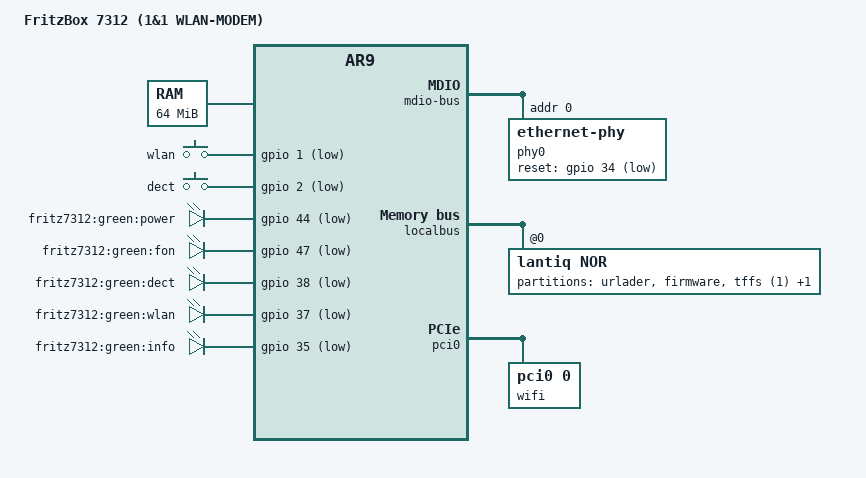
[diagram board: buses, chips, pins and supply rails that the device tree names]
/dts-v1/;

#include "ar9.dtsi"

#include <dt-bindings/input/input.h>

/ {
	compatible = "avm,fritz7312", "lantiq,xway", "lantiq,ar9";
	model = "FritzBox 7312 (1&1 WLAN-MODEM)";

	chosen {
		bootargs = "console=ttyLTQ0,115200";
	};

	aliases {
		led-boot = &power;
		led-failsafe = &power;
		led-running = &power;
		led-upgrade = &power;

		led-internet = &info_green;
		led-dsl = &power;
		led-wifi = &wlan;
	};

	memory@0 {
		reg = <0x0 0x4000000>;
	};

	gpio-keys-polled {
		compatible = "gpio-keys-polled";
		#address-cells = <1>;
		#size-cells = <0>;
		poll-interval = <100>;

		wlan {
			label = "wlan";
			gpios = <&gpio 1 GPIO_ACTIVE_LOW>;
			linux,code = <KEY_RFKILL>;
		};
		dect {
			label = "dect";
			gpios = <&gpio 2 GPIO_ACTIVE_LOW>;
			linux,code = <KEY_PHONE>;
		};
	};

	gpio-leds {
		compatible = "gpio-leds";

		power: power {
			label = "fritz7312:green:power";
			gpios = <&gpio 44 GPIO_ACTIVE_LOW>;
			default-state = "keep";
		};
		voice {
			label = "fritz7312:green:fon";
			gpios = <&gpio 47 GPIO_ACTIVE_LOW>;
		};
		dect {
			label = "fritz7312:green:dect";
			gpios = <&gpio 38 GPIO_ACTIVE_LOW>;
		};
		wlan: wlan {
			label = "fritz7312:green:wlan";
			gpios = <&gpio 37 GPIO_ACTIVE_LOW>;
		};
		info_green: info_green {
			label = "fritz7312:green:info";
			gpios = <&gpio 35 GPIO_ACTIVE_LOW>;
		};
	};
};

&gpio {
	pinctrl-names = "default";
	pinctrl-0 = <&state_default>;

	state_default: pinmux {
		pci {
			lantiq,groups = "gnt1", "req1", "req2", "req4", "gnt2", "gnt3", "gnt4";
			lantiq,function = "pci";
		};
		pci-in {
			lantiq,groups = "req1", "req2", "req4";
			lantiq,output = <0>;
			lantiq,open-drain = <1>;
			lantiq,pull = <2>;
		};
		pci-out {
			lantiq,groups = "gnt1", "gnt2", "gnt3", "gnt4";
			lantiq,output = <1>;
			lantiq,pull = <0>;
		};
		ar8030-intr {
			lantiq,groups = "exin3";
			lantiq,function = "exin";
			lantiq,pull = <2>;
			lantiq,output = <0>;
		};
		ar8030-clk {
			lantiq,groups = "clkout2";
			lantiq,output = <1>;
			lantiq,open-drain;
		};
		ar8030-rst {
			lantiq,pins = "io34";
			lantiq,output = <1>;
			lantiq,pull = <2>;
			lantiq,open-drain;
		};
	};
};

&gsw {
	phy-mode = "rmii";
	phy-handle = <&phy0>;
	mtd-mac-address = <&ath9k_cal 0xa91>;
	mtd-mac-address-increment = <(-2)>;

	mdio-bus {
		#address-cells = <1>;
		#size-cells = <0>;
		reg = <0>;

		phy0: ethernet-phy@0 {
			reg = <0>;
			reset-gpios = <&gpio 34 GPIO_ACTIVE_LOW>;
		};
	};
};

&localbus {
	nor@0 {
		compatible = "lantiq,nor";
		bank-width = <2>;
		reg = <0 0x0 0x1000000>;
		#address-cells = <1>;
		#size-cells = <1>;

		partitions {
			compatible = "fixed-partitions";
			#address-cells = <1>;
			#size-cells = <1>;

			ath9k_cal: partition@0 {
				label = "urlader";
				reg = <0x00000 0x20000>;
				read-only;
			};

			partition@20000 {
				label = "firmware";
				reg = <0x20000 0xf60000>;
			};

			partition@f80000 {
				label = "tffs (1)";
				reg = <0xf80000 0x40000>;
				read-only;
			};

			partition@fc0000 {
				label = "tffs (2)";
				reg = <0xfc0000 0x40000>;
				read-only;
			};
		};
	};
};

&pci0 {
	status = "okay";
	req-mask = <0xf>;
	gpio-reset = <&gpio 21 GPIO_ACTIVE_LOW>;

	wifi@0,0 {
		compatible = "pci0,0";
		reg = <0x7000 0 0 0 0>;
		qca,no-eeprom; /* load from ath9k-eeprom-pci-0000:00:0e.0.bin */
	};
};
